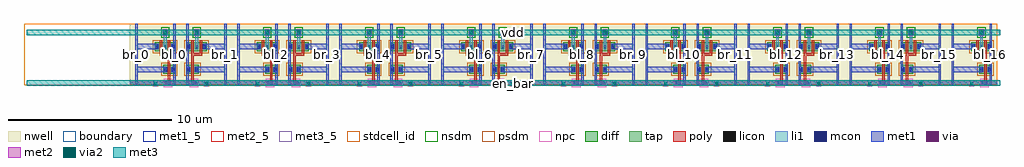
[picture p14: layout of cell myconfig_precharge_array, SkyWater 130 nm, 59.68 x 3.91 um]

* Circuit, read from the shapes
.subckt myconfig_precharge_array bl_0 bl_1 bl_10 bl_11 bl_12 bl_13 bl_14 bl_15 bl_16 bl_2 bl_3 bl_4 bl_5 bl_6 bl_7 bl_8 bl_9 br_0 br_1 br_10 br_11 br_12 br_13 br_14 br_15 br_16 br_2 br_3 br_4 br_5 br_6 br_7 br_8 br_9 en_bar vdd
XM1 vdd en_bar br_0 vdd sky130_fd_pr__pfet_01v8 w=0.55 l=0.15
XM2 bl_0 en_bar br_0 vdd sky130_fd_pr__pfet_01v8 w=0.55 l=0.15
XM3 bl_0 en_bar vdd vdd sky130_fd_pr__pfet_01v8 w=0.55 l=0.15
XM4 br_1 en_bar bl_1 vdd sky130_fd_pr__pfet_01v8 w=0.55 l=0.15
XM5 vdd en_bar bl_1 vdd sky130_fd_pr__pfet_01v8 w=0.55 l=0.15
XM6 br_1 en_bar vdd vdd sky130_fd_pr__pfet_01v8 w=0.55 l=0.15
XM7 vdd en_bar br_2 vdd sky130_fd_pr__pfet_01v8 w=0.55 l=0.15
XM8 bl_2 en_bar br_2 vdd sky130_fd_pr__pfet_01v8 w=0.55 l=0.15
XM9 bl_2 en_bar vdd vdd sky130_fd_pr__pfet_01v8 w=0.55 l=0.15
XM10 br_3 en_bar bl_3 vdd sky130_fd_pr__pfet_01v8 w=0.55 l=0.15
XM11 vdd en_bar bl_3 vdd sky130_fd_pr__pfet_01v8 w=0.55 l=0.15
XM12 br_3 en_bar vdd vdd sky130_fd_pr__pfet_01v8 w=0.55 l=0.15
XM13 vdd en_bar br_4 vdd sky130_fd_pr__pfet_01v8 w=0.55 l=0.15
XM14 bl_4 en_bar br_4 vdd sky130_fd_pr__pfet_01v8 w=0.55 l=0.15
XM15 bl_4 en_bar vdd vdd sky130_fd_pr__pfet_01v8 w=0.55 l=0.15
XM16 br_5 en_bar bl_5 vdd sky130_fd_pr__pfet_01v8 w=0.55 l=0.15
XM17 vdd en_bar bl_5 vdd sky130_fd_pr__pfet_01v8 w=0.55 l=0.15
XM18 br_5 en_bar vdd vdd sky130_fd_pr__pfet_01v8 w=0.55 l=0.15
XM19 vdd en_bar br_6 vdd sky130_fd_pr__pfet_01v8 w=0.55 l=0.15
XM20 bl_6 en_bar br_6 vdd sky130_fd_pr__pfet_01v8 w=0.55 l=0.15
XM21 bl_6 en_bar vdd vdd sky130_fd_pr__pfet_01v8 w=0.55 l=0.15
XM22 br_7 en_bar bl_7 vdd sky130_fd_pr__pfet_01v8 w=0.55 l=0.15
XM23 vdd en_bar bl_7 vdd sky130_fd_pr__pfet_01v8 w=0.55 l=0.15
XM24 br_7 en_bar vdd vdd sky130_fd_pr__pfet_01v8 w=0.55 l=0.15
XM25 vdd en_bar br_8 vdd sky130_fd_pr__pfet_01v8 w=0.55 l=0.15
XM26 bl_8 en_bar br_8 vdd sky130_fd_pr__pfet_01v8 w=0.55 l=0.15
XM27 bl_8 en_bar vdd vdd sky130_fd_pr__pfet_01v8 w=0.55 l=0.15
XM28 br_9 en_bar bl_9 vdd sky130_fd_pr__pfet_01v8 w=0.55 l=0.15
XM29 vdd en_bar bl_9 vdd sky130_fd_pr__pfet_01v8 w=0.55 l=0.15
XM30 br_9 en_bar vdd vdd sky130_fd_pr__pfet_01v8 w=0.55 l=0.15
XM31 vdd en_bar br_10 vdd sky130_fd_pr__pfet_01v8 w=0.55 l=0.15
XM32 bl_10 en_bar br_10 vdd sky130_fd_pr__pfet_01v8 w=0.55 l=0.15
XM33 bl_10 en_bar vdd vdd sky130_fd_pr__pfet_01v8 w=0.55 l=0.15
XM34 br_11 en_bar bl_11 vdd sky130_fd_pr__pfet_01v8 w=0.55 l=0.15
XM35 vdd en_bar bl_11 vdd sky130_fd_pr__pfet_01v8 w=0.55 l=0.15
XM36 br_11 en_bar vdd vdd sky130_fd_pr__pfet_01v8 w=0.55 l=0.15
XM37 vdd en_bar br_12 vdd sky130_fd_pr__pfet_01v8 w=0.55 l=0.15
XM38 bl_12 en_bar br_12 vdd sky130_fd_pr__pfet_01v8 w=0.55 l=0.15
XM39 bl_12 en_bar vdd vdd sky130_fd_pr__pfet_01v8 w=0.55 l=0.15
XM40 br_13 en_bar bl_13 vdd sky130_fd_pr__pfet_01v8 w=0.55 l=0.15
XM41 vdd en_bar bl_13 vdd sky130_fd_pr__pfet_01v8 w=0.55 l=0.15
XM42 br_13 en_bar vdd vdd sky130_fd_pr__pfet_01v8 w=0.55 l=0.15
XM43 vdd en_bar br_14 vdd sky130_fd_pr__pfet_01v8 w=0.55 l=0.15
XM44 bl_14 en_bar br_14 vdd sky130_fd_pr__pfet_01v8 w=0.55 l=0.15
XM45 bl_14 en_bar vdd vdd sky130_fd_pr__pfet_01v8 w=0.55 l=0.15
XM46 br_15 en_bar bl_15 vdd sky130_fd_pr__pfet_01v8 w=0.55 l=0.15
XM47 vdd en_bar bl_15 vdd sky130_fd_pr__pfet_01v8 w=0.55 l=0.15
XM48 br_15 en_bar vdd vdd sky130_fd_pr__pfet_01v8 w=0.55 l=0.15
XM49 vdd en_bar br_16 vdd sky130_fd_pr__pfet_01v8 w=0.55 l=0.15
XM50 bl_16 en_bar br_16 vdd sky130_fd_pr__pfet_01v8 w=0.55 l=0.15
XM51 bl_16 en_bar vdd vdd sky130_fd_pr__pfet_01v8 w=0.55 l=0.15
.ends

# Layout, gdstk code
from math import pi, radians
import gdstk
lib = gdstk.Library(unit=1e-6, precision=1e-09)
def R(c, l, rs):  # rectangles x0, y0, x1, y1
    for r in rs: c.add(gdstk.rectangle(r[:2], r[2:], *l))
nwell = (64, 20)
diff = (65, 20)
tap = (65, 44)
poly = (66, 20)
licon = (66, 44)
li1 = (67, 20)
mcon = (67, 44)
met1_5 = (68, 5)
met1 = (68, 20)
via = (68, 44)
met2_5 = (69, 5)
met2 = (69, 20)
via2 = (69, 44)
met3_5 = (70, 5)
met3 = (70, 20)
stdcell_id = (81, 4)
nsdm = (93, 44)
psdm = (94, 20)
npc = (95, 20)
boundary = (235, 4)

myconfig_contact_11 = lib.new_cell('myconfig_contact_11')
R(myconfig_contact_11, nwell, [(-0.295,-0.255,0.545,0.585)])
R(myconfig_contact_11, diff, [(0,0.02,0.25,0.31)])
R(myconfig_contact_11, licon, [(0.04,0.08,0.21,0.25)])
R(myconfig_contact_11, li1, [(0.04,0,0.21,0.33)])
R(myconfig_contact_11, stdcell_id, [(-0.295,-0.255,0.545,0.585)])
R(myconfig_contact_11, psdm, [(-0.125,-0.105,0.375,0.435)])
R(myconfig_contact_11, boundary, [(-0.295,-0.255,0.545,0.585)])

myconfig_pmos_m1_w0_550_ = lib.new_cell('myconfig_pmos_m1_w0_550_sli_dli')
R(myconfig_pmos_m1_w0_550_, nwell, [(-0.27,-0.27,1.02,0.82)])
R(myconfig_pmos_m1_w0_550_, diff, [(0,0,0.75,0.55)])
R(myconfig_pmos_m1_w0_550_, poly, [(0.3,-0.13,0.45,0.68), (0.3,-0.13,0.45,0.68)])
R(myconfig_pmos_m1_w0_550_, li1, [(0.04,0.11,0.21,0.44), (0.54,0.11,0.71,0.44)])
R(myconfig_pmos_m1_w0_550_, stdcell_id, [(-0.27,-0.27,1.02,0.82)])
R(myconfig_pmos_m1_w0_550_, psdm, [(-0.125,-0.125,0.875,0.675)])
R(myconfig_pmos_m1_w0_550_, boundary, [(-0.27,-0.27,1.02,0.82)])
myconfig_pmos_m1_w0_550_.add(gdstk.Reference(myconfig_contact_11, (0,0.11)))
myconfig_pmos_m1_w0_550_.add(gdstk.Reference(myconfig_contact_11, (0.5,0.11)))
myconfig_pmos_m1_w0_550_.add(gdstk.Label('G', (0.375,0.275), layer=66, texttype=5))
myconfig_pmos_m1_w0_550_.add(gdstk.Label('S', (0.125,0.275), layer=67, texttype=5))
myconfig_pmos_m1_w0_550_.add(gdstk.Label('D', (0.625,0.275), layer=67, texttype=5))

myconfig_contact_15 = lib.new_cell('myconfig_contact_15')
R(myconfig_contact_15, poly, [(0,0,0.33,0.33)])
R(myconfig_contact_15, licon, [(0.08,0.08,0.25,0.25)])
R(myconfig_contact_15, li1, [(0.08,0,0.25,0.33)])
R(myconfig_contact_15, stdcell_id, [(-0.1,-0.1,0.43,0.43)])
R(myconfig_contact_15, npc, [(-0.1,-0.1,0.43,0.43)])
R(myconfig_contact_15, boundary, [(-0.1,-0.1,0.43,0.43)])

myconfig_contact_13 = lib.new_cell('myconfig_contact_13')
R(myconfig_contact_13, li1, [(0.06,0,0.23,0.33)])
R(myconfig_contact_13, mcon, [(0.06,0.08,0.23,0.25)])
R(myconfig_contact_13, met1, [(0,0.05,0.29,0.28)])
R(myconfig_contact_13, stdcell_id, [(0,0,0.29,0.33)])
R(myconfig_contact_13, boundary, [(0,0,0.29,0.33)])

myconfig_contact_18 = lib.new_cell('myconfig_contact_18')
R(myconfig_contact_18, met1, [(0,0.03,0.32,0.29)])
R(myconfig_contact_18, via, [(0.085,0.085,0.235,0.235)])
R(myconfig_contact_18, met2, [(0.03,0,0.29,0.32)])
R(myconfig_contact_18, stdcell_id, [(0,0,0.32,0.32)])
R(myconfig_contact_18, boundary, [(0,0,0.32,0.32)])

myconfig_contact_12 = lib.new_cell('myconfig_contact_12')
R(myconfig_contact_12, nwell, [(-0.295,-0.215,0.545,0.625)])
R(myconfig_contact_12, tap, [(0,0,0.25,0.41)])
R(myconfig_contact_12, licon, [(0.04,0.12,0.21,0.29)])
R(myconfig_contact_12, li1, [(0.04,0.04,0.21,0.37)])
R(myconfig_contact_12, stdcell_id, [(-0.295,-0.215,0.545,0.625)])
R(myconfig_contact_12, nsdm, [(-0.125,-0.125,0.375,0.535)])
R(myconfig_contact_12, boundary, [(-0.295,-0.215,0.545,0.625)])

myconfig_contact_23 = lib.new_cell('myconfig_contact_23')
R(myconfig_contact_23, li1, [(0.03,0,0.2,0.33)])
R(myconfig_contact_23, mcon, [(0.03,0.08,0.2,0.25)])
R(myconfig_contact_23, met1, [(0,0.02,0.23,0.31)])
R(myconfig_contact_23, stdcell_id, [(0,0,0.23,0.33)])
R(myconfig_contact_23, boundary, [(0,0,0.23,0.33)])

myconfig_precharge_0 = lib.new_cell('myconfig_precharge_0')
R(myconfig_precharge_0, nwell, [(0,0,3.12,3.77)])
R(myconfig_precharge_0, poly, [(0.64,0.05,0.79,0.2), (0.715,0.05,0.79,0.2), (0.64,0.125,0.79,0.56), (0.64,1.37,0.79,1.95), (0.64,1.8,1.29,1.95)])
R(myconfig_precharge_0, li1, [(0.88,2.355,1.05,3.22), (0.88,3.135,1.05,3.305)])
R(myconfig_precharge_0, met1_5, [(0.33,0,0.47,3.77), (2.65,0,2.79,3.77)])
R(myconfig_precharge_0, met1, [(0.63,-0.005,0.95,0.255), (0.33,0,0.47,3.77), (0.33,0,0.47,3.77), (2.65,0,2.79,3.77), (2.65,0,2.79,3.77), (0.4,0.8,0.465,1.13), (0.965,0.8,2.72,1.13), (0.4,2.19,0.465,2.52), (1.465,2.19,2.72,2.52)])
R(myconfig_precharge_0, met2_5, [(0,0.055,3.12,0.195)])
R(myconfig_precharge_0, met2, [(0,0.055,3.12,0.195)])
R(myconfig_precharge_0, stdcell_id, [(0,0,3.12,3.77)])
R(myconfig_precharge_0, boundary, [(0,0,3.12,3.77)])
myconfig_precharge_0.add(gdstk.Reference(myconfig_pmos_m1_w0_550_, (0.34,0.69)))
myconfig_precharge_0.add(gdstk.Reference(myconfig_pmos_m1_w0_550_, (0.34,2.08)))
myconfig_precharge_0.add(gdstk.Reference(myconfig_pmos_m1_w0_550_, (0.84,2.08)))
myconfig_precharge_0.add(gdstk.Reference(myconfig_contact_15, (0.625,-0.04)))
myconfig_precharge_0.add(gdstk.Reference(myconfig_contact_13, (0.645,-0.04)))
myconfig_precharge_0.add(gdstk.Reference(myconfig_contact_18, (0.63,-0.035)))
myconfig_precharge_0.add(gdstk.Reference(myconfig_contact_12, (0.84,3.015)))
myconfig_precharge_0.add(gdstk.Reference(myconfig_contact_13, (0.82,3.055)))
myconfig_precharge_0.add(gdstk.Reference(myconfig_contact_23, (0.35,0.8)))
myconfig_precharge_0.add(gdstk.Reference(myconfig_contact_23, (0.85,0.8)))
myconfig_precharge_0.add(gdstk.Reference(myconfig_contact_23, (0.35,2.19)))
myconfig_precharge_0.add(gdstk.Reference(myconfig_contact_23, (1.35,2.19)))
myconfig_precharge_0.add(gdstk.Label('en_bar', (1.56,0.125), layer=69, texttype=5))
myconfig_precharge_0.add(gdstk.Label('vdd', (0.965,3.22), layer=67, texttype=5))
myconfig_precharge_0.add(gdstk.Label('bl', (0.4,1.885), layer=68, texttype=5))
myconfig_precharge_0.add(gdstk.Label('br', (2.72,1.885), layer=68, texttype=5))

myconfig_contact_21 = lib.new_cell('myconfig_contact_21')
R(myconfig_contact_21, met2, [(0.025,0,0.305,0.37)])
R(myconfig_contact_21, via2, [(0.065,0.085,0.265,0.285)])
R(myconfig_contact_21, met3, [(0,0.02,0.33,0.35)])
R(myconfig_contact_21, stdcell_id, [(0,0,0.33,0.37)])
R(myconfig_contact_21, boundary, [(0,0,0.33,0.37)])

myconfig_precharge_array = lib.new_cell('myconfig_precharge_array')
R(myconfig_precharge_array, met1_5, [(6.805,0,6.945,3.77), (9.125,0,9.265,3.77), (9.925,0,10.065,3.77), (12.245,0,12.385,3.77), (13.045,0,13.185,3.77), (15.365,0,15.505,3.77), (16.165,0,16.305,3.77), (18.485,0,18.625,3.77), (19.285,0,19.425,3.77), (21.605,0,21.745,3.77), (22.405,0,22.545,3.77), (24.725,0,24.865,3.77), (25.525,0,25.665,3.77), (27.845,0,27.985,3.77), (28.645,0,28.785,3.77), (30.965,0,31.105,3.77), (31.765,0,31.905,3.77), (34.085,0,34.225,3.77), (34.885,0,35.025,3.77), (37.205,0,37.345,3.77), (38.005,0,38.145,3.77), (40.325,0,40.465,3.77), (41.125,0,41.265,3.77), (43.445,0,43.585,3.77), (44.245,0,44.385,3.77), (46.565,0,46.705,3.77), (47.365,0,47.505,3.77), (49.685,0,49.825,3.77), (50.485,0,50.625,3.77), (52.805,0,52.945,3.77), (53.605,0,53.745,3.77), (55.925,0,56.065,3.77), (56.725,0,56.865,3.77), (59.045,0,59.185,3.77)])
R(myconfig_precharge_array, met1, [(6.805,0,6.945,3.77), (9.125,0,9.265,3.77), (9.925,0,10.065,3.77), (12.245,0,12.385,3.77), (13.045,0,13.185,3.77), (15.365,0,15.505,3.77), (16.165,0,16.305,3.77), (18.485,0,18.625,3.77), (19.285,0,19.425,3.77), (21.605,0,21.745,3.77), (22.405,0,22.545,3.77), (24.725,0,24.865,3.77), (25.525,0,25.665,3.77), (27.845,0,27.985,3.77), (28.645,0,28.785,3.77), (30.965,0,31.105,3.77), (31.765,0,31.905,3.77), (34.085,0,34.225,3.77), (34.885,0,35.025,3.77), (37.205,0,37.345,3.77), (38.005,0,38.145,3.77), (40.325,0,40.465,3.77), (41.125,0,41.265,3.77), (43.445,0,43.585,3.77), (44.245,0,44.385,3.77), (46.565,0,46.705,3.77), (47.365,0,47.505,3.77), (49.685,0,49.825,3.77), (50.485,0,50.625,3.77), (52.805,0,52.945,3.77), (53.605,0,53.745,3.77), (55.925,0,56.065,3.77), (56.725,0,56.865,3.77), (59.045,0,59.185,3.77), (8.47,3.09,8.79,3.35), (10.4,3.09,10.72,3.35), (14.71,3.09,15.03,3.35), (16.64,3.09,16.96,3.35), (20.95,3.09,21.27,3.35), (22.88,3.09,23.2,3.35), (27.19,3.09,27.51,3.35), (29.12,3.09,29.44,3.35), (33.43,3.09,33.75,3.35), (35.36,3.09,35.68,3.35), (39.67,3.09,39.99,3.35), (41.6,3.09,41.92,3.35), (45.91,3.09,46.23,3.35), (47.84,3.09,48.16,3.35), (52.15,3.09,52.47,3.35), (54.08,3.09,54.4,3.35), (58.39,3.09,58.71,3.35)])
R(myconfig_precharge_array, met2, [(7.895,0.005,8.175,0.245), (7.895,0.005,8.175,0.245), (11.015,0.005,11.295,0.245), (11.015,0.005,11.295,0.245), (14.135,0.005,14.415,0.245), (14.135,0.005,14.415,0.245), (17.255,0.005,17.535,0.245), (17.255,0.005,17.535,0.245), (20.375,0.005,20.655,0.245), (20.375,0.005,20.655,0.245), (23.495,0.005,23.775,0.245), (23.495,0.005,23.775,0.245), (26.615,0.005,26.895,0.245), (26.615,0.005,26.895,0.245), (29.735,0.005,30.015,0.245), (29.735,0.005,30.015,0.245), (32.855,0.005,33.135,0.245), (32.855,0.005,33.135,0.245), (35.975,0.005,36.255,0.245), (35.975,0.005,36.255,0.245), (39.095,0.005,39.375,0.245), (39.095,0.005,39.375,0.245), (42.215,0.005,42.495,0.245), (42.215,0.005,42.495,0.245), (45.335,0.005,45.615,0.245), (45.335,0.005,45.615,0.245), (48.455,0.005,48.735,0.245), (48.455,0.005,48.735,0.245), (51.575,0.005,51.855,0.245), (51.575,0.005,51.855,0.245), (54.695,0.005,54.975,0.245), (54.695,0.005,54.975,0.245), (57.815,0.005,58.095,0.245), (57.815,0.005,58.095,0.245), (8.49,3.1,8.77,3.34), (10.42,3.1,10.7,3.34), (14.73,3.1,15.01,3.34), (16.66,3.1,16.94,3.34), (20.97,3.1,21.25,3.34), (22.9,3.1,23.18,3.34), (27.21,3.1,27.49,3.34), (29.14,3.1,29.42,3.34), (33.45,3.1,33.73,3.34), (35.38,3.1,35.66,3.34), (39.69,3.1,39.97,3.34), (41.62,3.1,41.9,3.34), (45.93,3.1,46.21,3.34), (47.86,3.1,48.14,3.34), (52.17,3.1,52.45,3.34), (54.1,3.1,54.38,3.34), (58.41,3.1,58.69,3.34)])
R(myconfig_precharge_array, met3_5, [(0.165,-0.04,59.68,0.29), (0.165,3.055,59.68,3.385)])
R(myconfig_precharge_array, met3, [(0.165,-0.04,59.68,0.29), (0.165,3.055,59.68,3.385)])
R(myconfig_precharge_array, stdcell_id, [(0,0,59.515,3.77)])
R(myconfig_precharge_array, boundary, [(0,0,59.515,3.77)])
myconfig_precharge_array.add(gdstk.Reference(myconfig_precharge_0, (9.595,0), rotation=pi, x_reflection=True))
myconfig_precharge_array.add(gdstk.Reference(myconfig_precharge_0, (9.595,0)))
myconfig_precharge_array.add(gdstk.Reference(myconfig_precharge_0, (15.835,0), rotation=pi, x_reflection=True))
myconfig_precharge_array.add(gdstk.Reference(myconfig_precharge_0, (15.835,0)))
myconfig_precharge_array.add(gdstk.Reference(myconfig_precharge_0, (22.075,0), rotation=pi, x_reflection=True))
myconfig_precharge_array.add(gdstk.Reference(myconfig_precharge_0, (22.075,0)))
myconfig_precharge_array.add(gdstk.Reference(myconfig_precharge_0, (28.315,0), rotation=pi, x_reflection=True))
myconfig_precharge_array.add(gdstk.Reference(myconfig_precharge_0, (28.315,0)))
myconfig_precharge_array.add(gdstk.Reference(myconfig_precharge_0, (34.555,0), rotation=pi, x_reflection=True))
myconfig_precharge_array.add(gdstk.Reference(myconfig_precharge_0, (34.555,0)))
myconfig_precharge_array.add(gdstk.Reference(myconfig_precharge_0, (40.795,0), rotation=pi, x_reflection=True))
myconfig_precharge_array.add(gdstk.Reference(myconfig_precharge_0, (40.795,0)))
myconfig_precharge_array.add(gdstk.Reference(myconfig_precharge_0, (47.035,0), rotation=pi, x_reflection=True))
myconfig_precharge_array.add(gdstk.Reference(myconfig_precharge_0, (47.035,0)))
myconfig_precharge_array.add(gdstk.Reference(myconfig_precharge_0, (53.275,0), rotation=pi, x_reflection=True))
myconfig_precharge_array.add(gdstk.Reference(myconfig_precharge_0, (53.275,0)))
myconfig_precharge_array.add(gdstk.Reference(myconfig_precharge_0, (59.515,0), rotation=pi, x_reflection=True))
myconfig_precharge_array.add(gdstk.Reference(myconfig_contact_21, (7.87,-0.06)))
myconfig_precharge_array.add(gdstk.Reference(myconfig_contact_21, (10.99,-0.06)))
myconfig_precharge_array.add(gdstk.Reference(myconfig_contact_21, (14.11,-0.06)))
myconfig_precharge_array.add(gdstk.Reference(myconfig_contact_21, (17.23,-0.06)))
myconfig_precharge_array.add(gdstk.Reference(myconfig_contact_21, (20.35,-0.06)))
myconfig_precharge_array.add(gdstk.Reference(myconfig_contact_21, (23.47,-0.06)))
myconfig_precharge_array.add(gdstk.Reference(myconfig_contact_21, (26.59,-0.06)))
myconfig_precharge_array.add(gdstk.Reference(myconfig_contact_21, (29.71,-0.06)))
myconfig_precharge_array.add(gdstk.Reference(myconfig_contact_21, (32.83,-0.06)))
myconfig_precharge_array.add(gdstk.Reference(myconfig_contact_21, (35.95,-0.06)))
myconfig_precharge_array.add(gdstk.Reference(myconfig_contact_21, (39.07,-0.06)))
myconfig_precharge_array.add(gdstk.Reference(myconfig_contact_21, (42.19,-0.06)))
myconfig_precharge_array.add(gdstk.Reference(myconfig_contact_21, (45.31,-0.06)))
myconfig_precharge_array.add(gdstk.Reference(myconfig_contact_21, (48.43,-0.06)))
myconfig_precharge_array.add(gdstk.Reference(myconfig_contact_21, (51.55,-0.06)))
myconfig_precharge_array.add(gdstk.Reference(myconfig_contact_21, (54.67,-0.06)))
myconfig_precharge_array.add(gdstk.Reference(myconfig_contact_21, (57.79,-0.06)))
myconfig_precharge_array.add(gdstk.Reference(myconfig_contact_21, (7.87,-0.06)))
myconfig_precharge_array.add(gdstk.Reference(myconfig_contact_21, (10.99,-0.06)))
myconfig_precharge_array.add(gdstk.Reference(myconfig_contact_21, (14.11,-0.06)))
myconfig_precharge_array.add(gdstk.Reference(myconfig_contact_21, (17.23,-0.06)))
myconfig_precharge_array.add(gdstk.Reference(myconfig_contact_21, (20.35,-0.06)))
myconfig_precharge_array.add(gdstk.Reference(myconfig_contact_21, (23.47,-0.06)))
myconfig_precharge_array.add(gdstk.Reference(myconfig_contact_21, (26.59,-0.06)))
myconfig_precharge_array.add(gdstk.Reference(myconfig_contact_21, (29.71,-0.06)))
myconfig_precharge_array.add(gdstk.Reference(myconfig_contact_21, (32.83,-0.06)))
myconfig_precharge_array.add(gdstk.Reference(myconfig_contact_21, (35.95,-0.06)))
myconfig_precharge_array.add(gdstk.Reference(myconfig_contact_21, (39.07,-0.06)))
myconfig_precharge_array.add(gdstk.Reference(myconfig_contact_21, (42.19,-0.06)))
myconfig_precharge_array.add(gdstk.Reference(myconfig_contact_21, (45.31,-0.06)))
myconfig_precharge_array.add(gdstk.Reference(myconfig_contact_21, (48.43,-0.06)))
myconfig_precharge_array.add(gdstk.Reference(myconfig_contact_21, (51.55,-0.06)))
myconfig_precharge_array.add(gdstk.Reference(myconfig_contact_21, (54.67,-0.06)))
myconfig_precharge_array.add(gdstk.Reference(myconfig_contact_21, (57.79,-0.06)))
myconfig_precharge_array.add(gdstk.Reference(myconfig_contact_13, (8.485,3.055)))
myconfig_precharge_array.add(gdstk.Reference(myconfig_contact_18, (8.47,3.06)))
myconfig_precharge_array.add(gdstk.Reference(myconfig_contact_21, (8.465,3.035)))
myconfig_precharge_array.add(gdstk.Reference(myconfig_contact_13, (10.415,3.055)))
myconfig_precharge_array.add(gdstk.Reference(myconfig_contact_18, (10.4,3.06)))
myconfig_precharge_array.add(gdstk.Reference(myconfig_contact_21, (10.395,3.035)))
myconfig_precharge_array.add(gdstk.Reference(myconfig_contact_13, (14.725,3.055)))
myconfig_precharge_array.add(gdstk.Reference(myconfig_contact_18, (14.71,3.06)))
myconfig_precharge_array.add(gdstk.Reference(myconfig_contact_21, (14.705,3.035)))
myconfig_precharge_array.add(gdstk.Reference(myconfig_contact_13, (16.655,3.055)))
myconfig_precharge_array.add(gdstk.Reference(myconfig_contact_18, (16.64,3.06)))
myconfig_precharge_array.add(gdstk.Reference(myconfig_contact_21, (16.635,3.035)))
myconfig_precharge_array.add(gdstk.Reference(myconfig_contact_13, (20.965,3.055)))
myconfig_precharge_array.add(gdstk.Reference(myconfig_contact_18, (20.95,3.06)))
myconfig_precharge_array.add(gdstk.Reference(myconfig_contact_21, (20.945,3.035)))
myconfig_precharge_array.add(gdstk.Reference(myconfig_contact_13, (22.895,3.055)))
myconfig_precharge_array.add(gdstk.Reference(myconfig_contact_18, (22.88,3.06)))
myconfig_precharge_array.add(gdstk.Reference(myconfig_contact_21, (22.875,3.035)))
myconfig_precharge_array.add(gdstk.Reference(myconfig_contact_13, (27.205,3.055)))
myconfig_precharge_array.add(gdstk.Reference(myconfig_contact_18, (27.19,3.06)))
myconfig_precharge_array.add(gdstk.Reference(myconfig_contact_21, (27.185,3.035)))
myconfig_precharge_array.add(gdstk.Reference(myconfig_contact_13, (29.135,3.055)))
myconfig_precharge_array.add(gdstk.Reference(myconfig_contact_18, (29.12,3.06)))
myconfig_precharge_array.add(gdstk.Reference(myconfig_contact_21, (29.115,3.035)))
myconfig_precharge_array.add(gdstk.Reference(myconfig_contact_13, (33.445,3.055)))
myconfig_precharge_array.add(gdstk.Reference(myconfig_contact_18, (33.43,3.06)))
myconfig_precharge_array.add(gdstk.Reference(myconfig_contact_21, (33.425,3.035)))
myconfig_precharge_array.add(gdstk.Reference(myconfig_contact_13, (35.375,3.055)))
myconfig_precharge_array.add(gdstk.Reference(myconfig_contact_18, (35.36,3.06)))
myconfig_precharge_array.add(gdstk.Reference(myconfig_contact_21, (35.355,3.035)))
myconfig_precharge_array.add(gdstk.Reference(myconfig_contact_13, (39.685,3.055)))
myconfig_precharge_array.add(gdstk.Reference(myconfig_contact_18, (39.67,3.06)))
myconfig_precharge_array.add(gdstk.Reference(myconfig_contact_21, (39.665,3.035)))
myconfig_precharge_array.add(gdstk.Reference(myconfig_contact_13, (41.615,3.055)))
myconfig_precharge_array.add(gdstk.Reference(myconfig_contact_18, (41.6,3.06)))
myconfig_precharge_array.add(gdstk.Reference(myconfig_contact_21, (41.595,3.035)))
myconfig_precharge_array.add(gdstk.Reference(myconfig_contact_13, (45.925,3.055)))
myconfig_precharge_array.add(gdstk.Reference(myconfig_contact_18, (45.91,3.06)))
myconfig_precharge_array.add(gdstk.Reference(myconfig_contact_21, (45.905,3.035)))
myconfig_precharge_array.add(gdstk.Reference(myconfig_contact_13, (47.855,3.055)))
myconfig_precharge_array.add(gdstk.Reference(myconfig_contact_18, (47.84,3.06)))
myconfig_precharge_array.add(gdstk.Reference(myconfig_contact_21, (47.835,3.035)))
myconfig_precharge_array.add(gdstk.Reference(myconfig_contact_13, (52.165,3.055)))
myconfig_precharge_array.add(gdstk.Reference(myconfig_contact_18, (52.15,3.06)))
myconfig_precharge_array.add(gdstk.Reference(myconfig_contact_21, (52.145,3.035)))
myconfig_precharge_array.add(gdstk.Reference(myconfig_contact_13, (54.095,3.055)))
myconfig_precharge_array.add(gdstk.Reference(myconfig_contact_18, (54.08,3.06)))
myconfig_precharge_array.add(gdstk.Reference(myconfig_contact_21, (54.075,3.035)))
myconfig_precharge_array.add(gdstk.Reference(myconfig_contact_13, (58.405,3.055)))
myconfig_precharge_array.add(gdstk.Reference(myconfig_contact_18, (58.39,3.06)))
myconfig_precharge_array.add(gdstk.Reference(myconfig_contact_21, (58.385,3.035)))
myconfig_precharge_array.add(gdstk.Label('en_bar', (29.922,0.125), layer=70, texttype=5))
myconfig_precharge_array.add(gdstk.Label('bl_0', (9.195,1.885), layer=68, texttype=5))
myconfig_precharge_array.add(gdstk.Label('br_0', (6.875,1.885), layer=68, texttype=5))
myconfig_precharge_array.add(gdstk.Label('bl_1', (9.995,1.885), layer=68, texttype=5))
myconfig_precharge_array.add(gdstk.Label('br_1', (12.315,1.885), layer=68, texttype=5))
myconfig_precharge_array.add(gdstk.Label('bl_2', (15.435,1.885), layer=68, texttype=5))
myconfig_precharge_array.add(gdstk.Label('br_2', (13.115,1.885), layer=68, texttype=5))
myconfig_precharge_array.add(gdstk.Label('bl_3', (16.235,1.885), layer=68, texttype=5))
myconfig_precharge_array.add(gdstk.Label('br_3', (18.555,1.885), layer=68, texttype=5))
myconfig_precharge_array.add(gdstk.Label('bl_4', (21.675,1.885), layer=68, texttype=5))
myconfig_precharge_array.add(gdstk.Label('br_4', (19.355,1.885), layer=68, texttype=5))
myconfig_precharge_array.add(gdstk.Label('bl_5', (22.475,1.885), layer=68, texttype=5))
myconfig_precharge_array.add(gdstk.Label('br_5', (24.795,1.885), layer=68, texttype=5))
myconfig_precharge_array.add(gdstk.Label('bl_6', (27.915,1.885), layer=68, texttype=5))
myconfig_precharge_array.add(gdstk.Label('br_6', (25.595,1.885), layer=68, texttype=5))
myconfig_precharge_array.add(gdstk.Label('bl_7', (28.715,1.885), layer=68, texttype=5))
myconfig_precharge_array.add(gdstk.Label('br_7', (31.035,1.885), layer=68, texttype=5))
myconfig_precharge_array.add(gdstk.Label('bl_8', (34.155,1.885), layer=68, texttype=5))
myconfig_precharge_array.add(gdstk.Label('br_8', (31.835,1.885), layer=68, texttype=5))
myconfig_precharge_array.add(gdstk.Label('bl_9', (34.955,1.885), layer=68, texttype=5))
myconfig_precharge_array.add(gdstk.Label('br_9', (37.275,1.885), layer=68, texttype=5))
myconfig_precharge_array.add(gdstk.Label('bl_10', (40.395,1.885), layer=68, texttype=5))
myconfig_precharge_array.add(gdstk.Label('br_10', (38.075,1.885), layer=68, texttype=5))
myconfig_precharge_array.add(gdstk.Label('bl_11', (41.195,1.885), layer=68, texttype=5))
myconfig_precharge_array.add(gdstk.Label('br_11', (43.515,1.885), layer=68, texttype=5))
myconfig_precharge_array.add(gdstk.Label('bl_12', (46.635,1.885), layer=68, texttype=5))
myconfig_precharge_array.add(gdstk.Label('br_12', (44.315,1.885), layer=68, texttype=5))
myconfig_precharge_array.add(gdstk.Label('bl_13', (47.435,1.885), layer=68, texttype=5))
myconfig_precharge_array.add(gdstk.Label('br_13', (49.755,1.885), layer=68, texttype=5))
myconfig_precharge_array.add(gdstk.Label('bl_14', (52.875,1.885), layer=68, texttype=5))
myconfig_precharge_array.add(gdstk.Label('br_14', (50.555,1.885), layer=68, texttype=5))
myconfig_precharge_array.add(gdstk.Label('bl_15', (53.675,1.885), layer=68, texttype=5))
myconfig_precharge_array.add(gdstk.Label('br_15', (55.995,1.885), layer=68, texttype=5))
myconfig_precharge_array.add(gdstk.Label('bl_16', (59.115,1.885), layer=68, texttype=5))
myconfig_precharge_array.add(gdstk.Label('br_16', (56.795,1.885), layer=68, texttype=5))
myconfig_precharge_array.add(gdstk.Label('vdd', (29.922,3.22), layer=70, texttype=5))

lib.write_gds('myconfig_precharge_array.gds')
